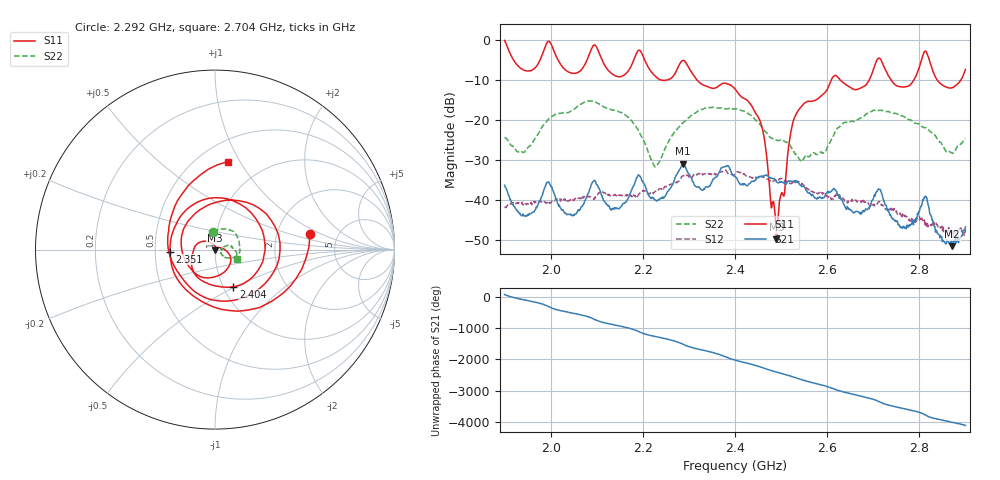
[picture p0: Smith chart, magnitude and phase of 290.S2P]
! C:\Users\rflab\Downloads\Lab5_KD_ZW\290.S2P
! Touchstone 1.1 file saved by VNA.EXE V1.65 (www.ke5fx.com/gpib/readme.htm)
! 11/12/2024 12:30:01 AM
!  Source: HEWLETT PACKARD,8753D,0,6.14
!  Min freq: 1.900000E+009 Hz
!  Max freq: 2.900000E+009 Hz
!  Points: 801
!  Params: S11 S21 S12 S22
# GHZ S RI R 50
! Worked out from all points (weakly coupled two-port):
!   801 points, 1.9 GHz to 2.9 GHz, reference 50 ohm
!   highest |S21| = -30.93 dB at 2.288 GHz (marker M1); lowest = -51.6 dB at 2.871 GHz (marker M2)
!   lowest |S11| = -49.9 dB at 2.49 GHz (marker M3), VSWR 1.01, Z = 49.9 - j0.314 ohm
!   |S11| at or under -10 dB: 2.318 GHz to 2.609 GHz (290.5 MHz wide, 11.8 % of centre); 2.629 GHz to 2.691 GHz (61.81 MHz wide, 2.32 % of centre); 2.839 GHz to 2.89 GHz (50.47 MHz wide, 1.76 % of centre) (the widest 3 of 5)
!   |S22| runs from -31.8 to -15.2 dB; largest |S21 - S12| = 0.0094
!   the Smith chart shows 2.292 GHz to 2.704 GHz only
!   S11 on the Smith chart (normalised r, x): 2.292 GHz: 3.11, +0.75; 2.351 GHz: 0.60, -0.01; 2.404 GHz: 1.11, -0.49; 2.704 GHz: 0.68, +0.89
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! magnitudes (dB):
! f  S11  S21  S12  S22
! 1.9 GHz  0.0  -36.3  -41.7  -24.3
! 1.94 GHz  -7.3  -43.5  -41.3  -28.1
! 1.995 GHz  -0.2  -35.5  -40.9  -19.8
! 2.067 GHz  -7.2  -41.7  -39.3  -15.9
! 2.149 GHz  -9.1  -42.3  -38.8  -17.9
! 2.192 GHz  -2.4  -34.0  -38.4  -23.1
! 2.234 GHz  -9.6  -40.0  -37.5  -30.9
! 2.288 GHz  -5.0  -30.9  -33.9  -20.6
! 2.292 GHz  -5.4  -31.8  -34.1  -20.1
! 2.351 GHz  -12.0  -35.1  -33.3  -16.8
! 2.4 GHz  -12.1  -34.1  -33.5  -17.1
! 2.404 GHz  -12.8  -34.5  -33.1  -17.2
! 2.456 GHz  -20.9  -34.1  -34.4  -21.5
! 2.49 GHz  -49.9  -35.5  -34.9  -25.0
! 2.526 GHz  -20.3  -35.4  -35.7  -27.8
! 2.567 GHz  -15.3  -38.6  -37.9  -28.3
! 2.704 GHz  -6.1  -39.1  -41.1  -17.6
! 2.734 GHz  -9.0  -43.1  -42.8  -17.9
! 2.777 GHz  -11.4  -46.3  -45.2  -19.9
! 2.812 GHz  -2.7  -39.3  -46.6  -21.9
! 2.871 GHz  -11.9  -51.6  -48.6  -28.3
! 2.9 GHz  -7.3  -46.9  -47.4  -24.6
